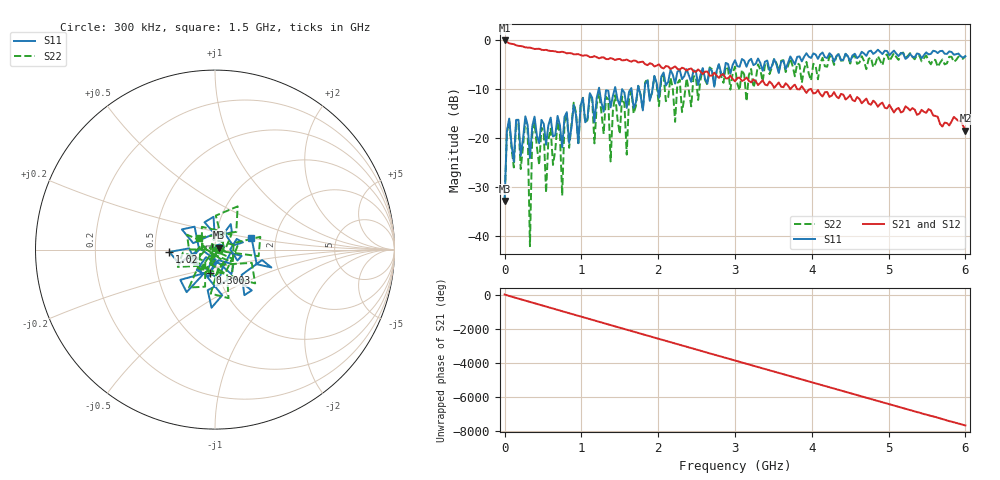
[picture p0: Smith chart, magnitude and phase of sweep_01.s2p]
! 2-port S-parameters written by miniscope-char acquisition
! instrument: Pico Technology Ltd,PicoVNA-106,10080,5.3.4
! transport: scpi
! endpoint: 127.0.0.1:5025
! demo: false
! calibration: software
# HZ S RI R 50
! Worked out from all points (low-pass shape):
!   201 points, 300 kHz to 6 GHz, reference 50 ohm
!   highest |S21| = -0.17 dB at 300 kHz (marker M1); lowest = -18.5 dB at 6 GHz (marker M2)
!   |S21| within 3 dB of the highest: start of sweep to 993.8 MHz
!   lowest |S11| = -32.9 dB at 300 kHz (marker M3), VSWR 1.05, Z = 52 + j1.2 ohm
!   |S11| at or under -10 dB: start of sweep to 1.227 GHz; 1.232 GHz to 1.434 GHz (201.7 MHz wide, 15.1 % of centre); 1.444 GHz to 1.644 GHz (199.9 MHz wide, 12.9 % of centre)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
!   |S22| runs from -42.0 to -2.6 dB; largest |S21 - S12| = 0.0096
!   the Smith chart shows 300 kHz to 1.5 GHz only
!   S11 on the Smith chart (normalised r, x): 300 kHz: 1.04, +0.02; 300.3 MHz: 0.91, -0.24; 1.02 GHz: 0.59, -0.02; 1.5 GHz: 1.49, +0.21
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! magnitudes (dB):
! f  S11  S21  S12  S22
! 300 kHz  -32.9  -0.2  -0.2  -33.2
! 60.3 MHz  -16.1  -0.8  -0.7  -16.5
! 120.3 MHz  -24.8  -0.9  -0.9  -26.0
! 150.3 MHz  -16.3  -1.1  -1.1  -17.0
! 300.3 MHz  -17.4  -1.6  -1.6  -18.4
! 330.3 MHz  -24.1  -1.6  -1.6  -42.0
! 360.3 MHz  -17.6  -1.8  -1.7  -19.3
! 390.3 MHz  -15.7  -1.9  -1.9  -16.8
! 510.3 MHz  -17.1  -2.1  -2.1  -19.0
! 540.3 MHz  -21.4  -2.1  -2.1  -31.2
! 570.3 MHz  -17.4  -2.2  -2.2  -20.4
! 690.3 MHz  -15.5  -2.5  -2.5  -16.7
! 750.3 MHz  -21.9  -2.5  -2.4  -31.7
! 780.3 MHz  -15.7  -2.6  -2.6  -16.8
! 960.3 MHz  -21.1  -2.9  -2.9  -21.4
! 1.02 GHz  -11.9  -3.3  -3.3  -11.8
! 1.5 GHz  -13.4  -3.9  -3.9  -19.2
! 2.01 GHz  -11.8  -5.0  -5.0  -13.5
! 3 GHz  -4.2  -8.5  -8.5  -5.5
! 4.02 GHz  -2.8  -11.0  -10.9  -4.9
! 5.01 GHz  -3.2  -13.3  -13.3  -4.4
! 6 GHz  -3.4  -18.5  -18.5  -3.3
